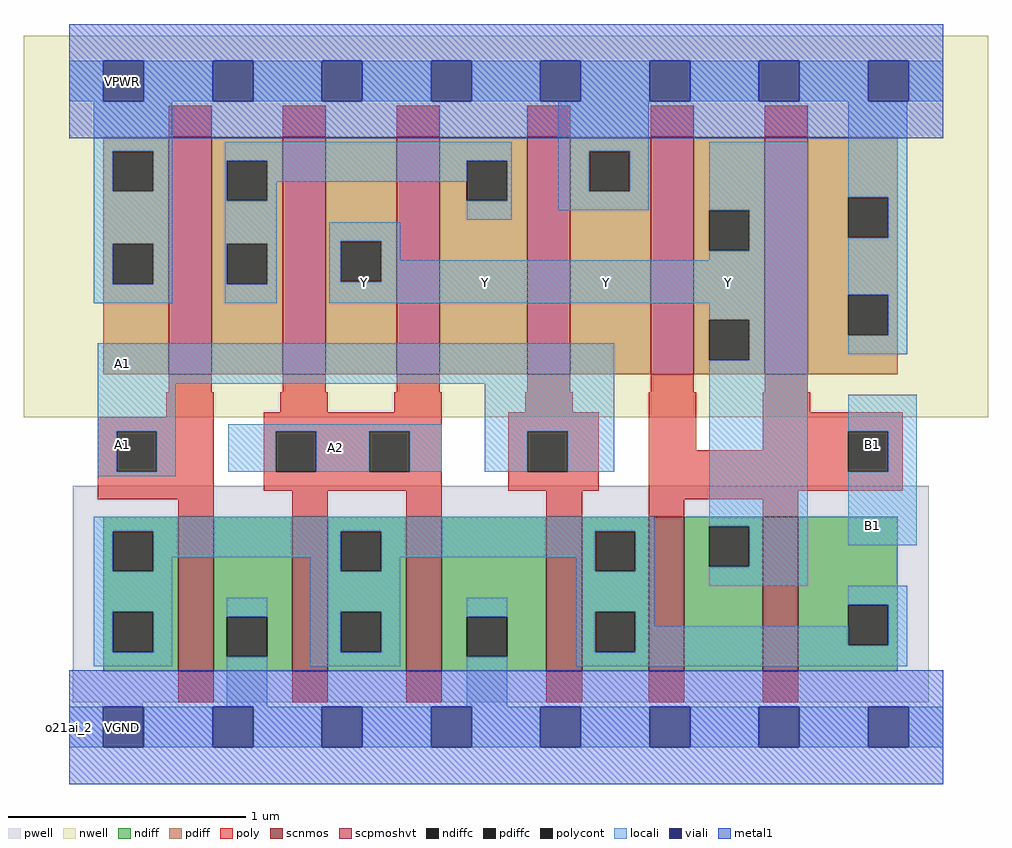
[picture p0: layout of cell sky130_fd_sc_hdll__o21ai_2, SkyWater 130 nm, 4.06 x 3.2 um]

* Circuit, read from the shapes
.subckt sky130_fd_sc_hdll__o21ai_2 A1 A2 B1 VGND VNB VPB VPWR Y
XM1 VGND A1 n1 VNB sky130_fd_pr__nfet_01v8 w=0.65 l=0.15 m=2
XM2 n1 A2 VGND VNB sky130_fd_pr__nfet_01v8 w=0.65 l=0.15 m=2
XM3 Y B1 n1 VNB sky130_fd_pr__nfet_01v8 w=0.65 l=0.15 m=2
XM4 n2 A1 VPWR VPB sky130_fd_pr__pfet_01v8_hvt w=1 l=0.18 m=2
XM5 Y A2 n2 VPB sky130_fd_pr__pfet_01v8_hvt w=1 l=0.18 m=2
XM6 Y B1 VPWR VPB sky130_fd_pr__pfet_01v8_hvt w=1 l=0.18 m=2
.ends

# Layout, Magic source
magic
tech sky130A
magscale 1 2
<< nwell >>
rect -38 261 774 582
<< pwell >>
rect 3 21 724 203
rect 28 -17 62 21
<< scnmos >>
rect 92 47 122 177
rect 188 47 218 177
rect 284 47 314 177
rect 402 47 432 177
rect 488 47 518 177
rect 584 47 614 177
<< scpmoshvt >>
rect 84 297 120 497
rect 180 297 216 497
rect 276 297 312 497
rect 386 297 422 497
rect 490 297 526 497
rect 586 297 622 497
<< ndiff >>
rect 29 165 92 177
rect 29 131 37 165
rect 71 131 92 165
rect 29 97 92 131
rect 29 63 37 97
rect 71 63 92 97
rect 29 47 92 63
rect 122 93 188 177
rect 122 59 133 93
rect 167 59 188 93
rect 122 47 188 59
rect 218 165 284 177
rect 218 131 229 165
rect 263 131 284 165
rect 218 97 284 131
rect 218 63 229 97
rect 263 63 284 97
rect 218 47 284 63
rect 314 93 402 177
rect 314 59 335 93
rect 369 59 402 93
rect 314 47 402 59
rect 432 165 488 177
rect 432 131 443 165
rect 477 131 488 165
rect 432 97 488 131
rect 432 63 443 97
rect 477 63 488 97
rect 432 47 488 63
rect 518 169 584 177
rect 518 135 539 169
rect 573 135 584 169
rect 518 47 584 135
rect 614 103 698 177
rect 614 69 656 103
rect 690 69 698 103
rect 614 47 698 69
<< pdiff >>
rect 29 485 84 497
rect 29 451 37 485
rect 71 451 84 485
rect 29 407 84 451
rect 29 373 37 407
rect 71 373 84 407
rect 29 297 84 373
rect 120 477 180 497
rect 120 443 133 477
rect 167 443 180 477
rect 120 407 180 443
rect 120 373 133 407
rect 167 373 180 407
rect 120 297 180 373
rect 216 409 276 497
rect 216 375 229 409
rect 263 375 276 409
rect 216 297 276 375
rect 312 477 386 497
rect 312 443 335 477
rect 369 443 386 477
rect 312 297 386 443
rect 422 485 490 497
rect 422 451 438 485
rect 472 451 490 485
rect 422 297 490 451
rect 526 435 586 497
rect 526 401 539 435
rect 573 401 586 435
rect 526 343 586 401
rect 526 309 539 343
rect 573 309 586 343
rect 526 297 586 309
rect 622 446 698 497
rect 622 412 656 446
rect 690 412 698 446
rect 622 364 698 412
rect 622 330 656 364
rect 690 330 698 364
rect 622 297 698 330
<< ndiffc >>
rect 37 131 71 165
rect 37 63 71 97
rect 133 59 167 93
rect 229 131 263 165
rect 229 63 263 97
rect 335 59 369 93
rect 443 131 477 165
rect 443 63 477 97
rect 539 135 573 169
rect 656 69 690 103
<< pdiffc >>
rect 37 451 71 485
rect 37 373 71 407
rect 133 443 167 477
rect 133 373 167 407
rect 229 375 263 409
rect 335 443 369 477
rect 438 451 472 485
rect 539 401 573 435
rect 539 309 573 343
rect 656 412 690 446
rect 656 330 690 364
<< poly >>
rect 84 497 120 523
rect 180 497 216 523
rect 276 497 312 523
rect 386 497 422 523
rect 490 497 526 523
rect 586 497 622 523
rect 84 282 120 297
rect 180 282 216 297
rect 276 282 312 297
rect 386 282 422 297
rect 490 282 526 297
rect 586 282 622 297
rect 82 261 122 282
rect 178 265 218 282
rect 274 265 314 282
rect 384 265 424 282
rect 24 249 122 261
rect 24 215 40 249
rect 74 215 122 249
rect 24 192 122 215
rect 164 249 314 265
rect 164 215 174 249
rect 208 215 253 249
rect 287 215 314 249
rect 164 199 314 215
rect 370 249 446 265
rect 370 215 386 249
rect 420 215 446 249
rect 370 199 446 215
rect 488 233 528 282
rect 584 265 624 282
rect 584 249 702 265
rect 584 233 656 249
rect 488 215 656 233
rect 690 215 702 249
rect 488 199 702 215
rect 92 177 122 192
rect 188 177 218 199
rect 284 177 314 199
rect 402 177 432 199
rect 488 192 614 199
rect 488 177 518 192
rect 584 177 614 192
rect 92 21 122 47
rect 188 21 218 47
rect 284 21 314 47
rect 402 21 432 47
rect 488 21 518 47
rect 584 21 614 47
<< polycont >>
rect 40 215 74 249
rect 174 215 208 249
rect 253 215 287 249
rect 386 215 420 249
rect 656 215 690 249
<< locali >>
rect 0 527 29 561
rect 63 527 121 561
rect 155 527 213 561
rect 247 527 305 561
rect 339 527 397 561
rect 431 527 489 561
rect 523 527 581 561
rect 615 527 673 561
rect 707 527 736 561
rect 21 485 87 527
rect 21 451 37 485
rect 71 451 87 485
rect 21 407 87 451
rect 21 373 37 407
rect 71 373 87 407
rect 21 357 87 373
rect 131 477 373 493
rect 131 443 133 477
rect 167 459 335 477
rect 167 443 175 459
rect 131 407 175 443
rect 369 443 373 477
rect 335 427 373 443
rect 412 485 488 527
rect 412 451 438 485
rect 472 451 488 485
rect 412 435 488 451
rect 539 435 622 493
rect 131 373 133 407
rect 167 373 175 407
rect 131 357 175 373
rect 219 409 279 425
rect 219 375 229 409
rect 263 393 279 409
rect 573 401 622 435
rect 539 393 622 401
rect 263 375 622 393
rect 219 357 622 375
rect 539 343 622 357
rect 24 289 459 323
rect 24 249 90 289
rect 24 215 40 249
rect 74 215 90 249
rect 134 249 314 255
rect 134 215 174 249
rect 208 215 253 249
rect 287 215 314 249
rect 350 249 459 289
rect 350 215 386 249
rect 420 215 459 249
rect 573 309 622 343
rect 656 446 706 527
rect 690 412 706 446
rect 656 364 706 412
rect 690 330 706 364
rect 656 314 706 330
rect 24 211 90 215
rect 21 165 493 177
rect 21 131 37 165
rect 71 143 229 165
rect 71 131 87 143
rect 21 97 87 131
rect 203 131 229 143
rect 263 143 443 165
rect 263 131 279 143
rect 21 63 37 97
rect 71 63 87 97
rect 21 51 87 63
rect 133 93 167 109
rect 133 17 167 59
rect 203 97 279 131
rect 427 131 443 143
rect 477 131 493 165
rect 203 63 229 97
rect 263 63 279 97
rect 203 51 279 63
rect 335 93 369 109
rect 335 17 369 59
rect 427 97 493 131
rect 539 169 622 309
rect 573 135 622 169
rect 656 249 714 280
rect 690 215 714 249
rect 656 153 714 215
rect 539 119 622 135
rect 427 63 443 97
rect 477 85 493 97
rect 656 103 706 119
rect 477 69 656 85
rect 690 69 706 103
rect 477 63 706 69
rect 427 51 706 63
rect 0 -17 29 17
rect 63 -17 121 17
rect 155 -17 213 17
rect 247 -17 305 17
rect 339 -17 397 17
rect 431 -17 489 17
rect 523 -17 581 17
rect 615 -17 673 17
rect 707 -17 736 17
<< viali >>
rect 29 527 63 561
rect 121 527 155 561
rect 213 527 247 561
rect 305 527 339 561
rect 397 527 431 561
rect 489 527 523 561
rect 581 527 615 561
rect 673 527 707 561
rect 29 -17 63 17
rect 121 -17 155 17
rect 213 -17 247 17
rect 305 -17 339 17
rect 397 -17 431 17
rect 489 -17 523 17
rect 581 -17 615 17
rect 673 -17 707 17
<< metal1 >>
rect 0 561 736 592
rect 0 527 29 561
rect 63 527 121 561
rect 155 527 213 561
rect 247 527 305 561
rect 339 527 397 561
rect 431 527 489 561
rect 523 527 581 561
rect 615 527 673 561
rect 707 527 736 561
rect 0 496 736 527
rect 0 17 736 48
rect 0 -17 29 17
rect 63 -17 121 17
rect 155 -17 213 17
rect 247 -17 305 17
rect 339 -17 397 17
rect 431 -17 489 17
rect 523 -17 581 17
rect 615 -17 673 17
rect 707 -17 736 17
rect 0 -48 736 -17
<< labels >>
flabel locali s 660 153 694 187 0 FreeSans 200 0 0 0 B1
port 3 nsew signal input
flabel locali s 538 357 572 391 0 FreeSans 200 0 0 0 Y
port 8 nsew signal output
flabel locali s 436 357 470 391 0 FreeSans 200 0 0 0 Y
port 8 nsew signal output
flabel locali s 334 357 368 391 0 FreeSans 200 0 0 0 Y
port 8 nsew signal output
flabel locali s 134 215 314 255 0 FreeSans 200 0 0 0 A2
port 2 nsew signal input
flabel locali s 232 357 266 391 0 FreeSans 200 0 0 0 Y
port 8 nsew signal output
flabel locali s 28 289 62 323 0 FreeSans 200 0 0 0 A1
port 1 nsew signal input
flabel locali s 28 221 62 255 0 FreeSans 200 0 0 0 A1
port 1 nsew signal input
flabel locali s 660 221 694 255 0 FreeSans 200 0 0 0 B1
port 3 nsew signal input
flabel metal1 s 28 -17 62 17 0 FreeSans 200 0 0 0 VGND
port 4 nsew ground bidirectional
flabel metal1 s 28 527 62 561 0 FreeSans 200 0 0 0 VPWR
port 7 nsew power bidirectional
flabel nwell s 28 527 62 561 0 FreeSans 200 0 0 0 VPB
port 6 nsew power bidirectional
flabel pwell s 28 -17 62 17 0 FreeSans 200 0 0 0 VNB
port 5 nsew ground bidirectional
rlabel comment s 0 0 0 0 4 o21ai_2
<< properties >>
string LEFsite unithd
string LEFclass CORE
string FIXED_BBOX 0 0 736 544
string GDS_FILE $PDKPATH/libs.ref/sky130_fd_sc_hdll/gds/sky130_fd_sc_hdll.gds
string LEFsymmetry X Y R90
string GDS_END 2421374
string GDS_START 2414642
string LEFproperties maskLayoutSubType "abstract" prCellType "standard" originalViewName "layout"
<< end >>
